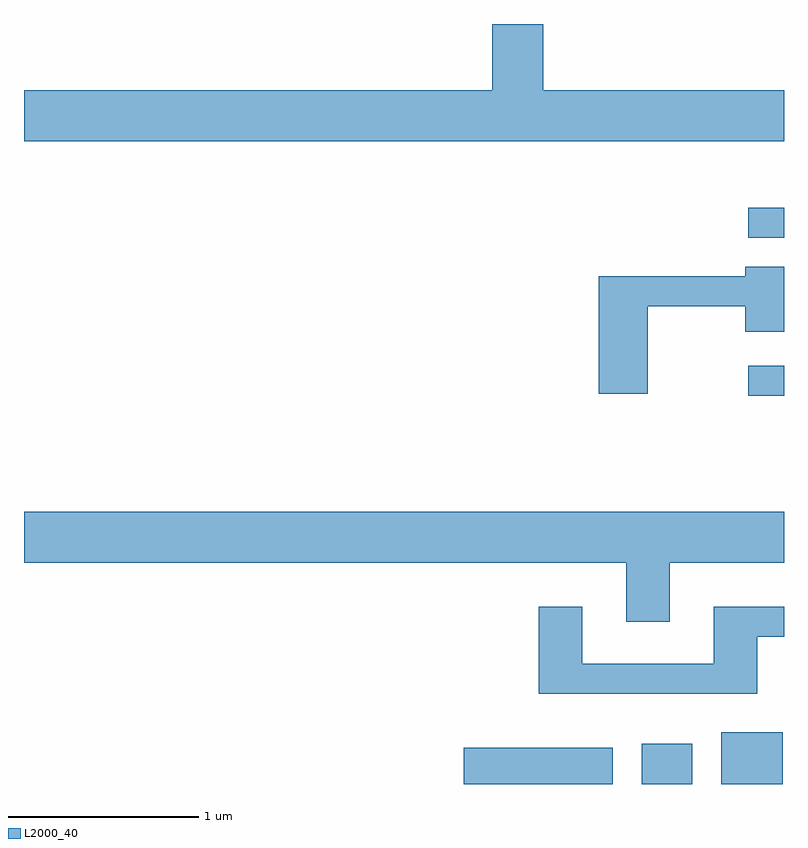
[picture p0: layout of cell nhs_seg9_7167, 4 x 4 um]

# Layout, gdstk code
import gdstk
lib = gdstk.Library(unit=1e-6, precision=1e-09)
def R(c, l, rs):  # rectangles x0, y0, x1, y1
    for r in rs: c.add(gdstk.rectangle(r[:2], r[2:], *l))
def P(c, l, *ps):  # polygons
    for p in ps: c.add(gdstk.Polygon(p, *l))
L2000_40 = (2000, 40)

nhs_seg9_7167 = lib.new_cell('nhs_seg9_7167')
R(nhs_seg9_7167, L2000_40, [(399.926,1988.432,400.709,1988.624), (400.861,1988.432,401.129,1988.644), (401.281,1988.432,401.604,1988.704), (401.423,1990.476,401.611,1990.634), (401.423,1991.306,401.611,1991.464)])
P(nhs_seg9_7167, L2000_40, [(401.611,1992.084),(400.344,1992.084),(400.344,1992.432),(400.076,1992.432),(400.076,1992.084),(397.611,1992.084),(397.611,1991.816),(401.611,1991.816)],
  [(400.894,1990.946),(401.406,1990.946),(401.406,1990.811),(401.611,1990.811),(401.611,1991.154),(401.406,1991.154),(401.406,1991.104),(400.636,1991.104),(400.636,1990.486),(400.894,1990.486)],
  [(401.009,1989.596),(401.611,1989.596),(401.611,1989.864),(397.611,1989.864),(397.611,1989.596),(400.781,1989.596),(400.781,1989.286),(401.009,1989.286)],
  [(401.469,1989.206),(401.611,1989.206),(401.611,1989.364),(401.241,1989.364),(401.241,1989.064),(400.549,1989.064),(400.549,1989.364),(400.321,1989.364),(400.321,1988.906),(401.469,1988.906)])

lib.write_gds('nhs_seg9_7167.gds')
